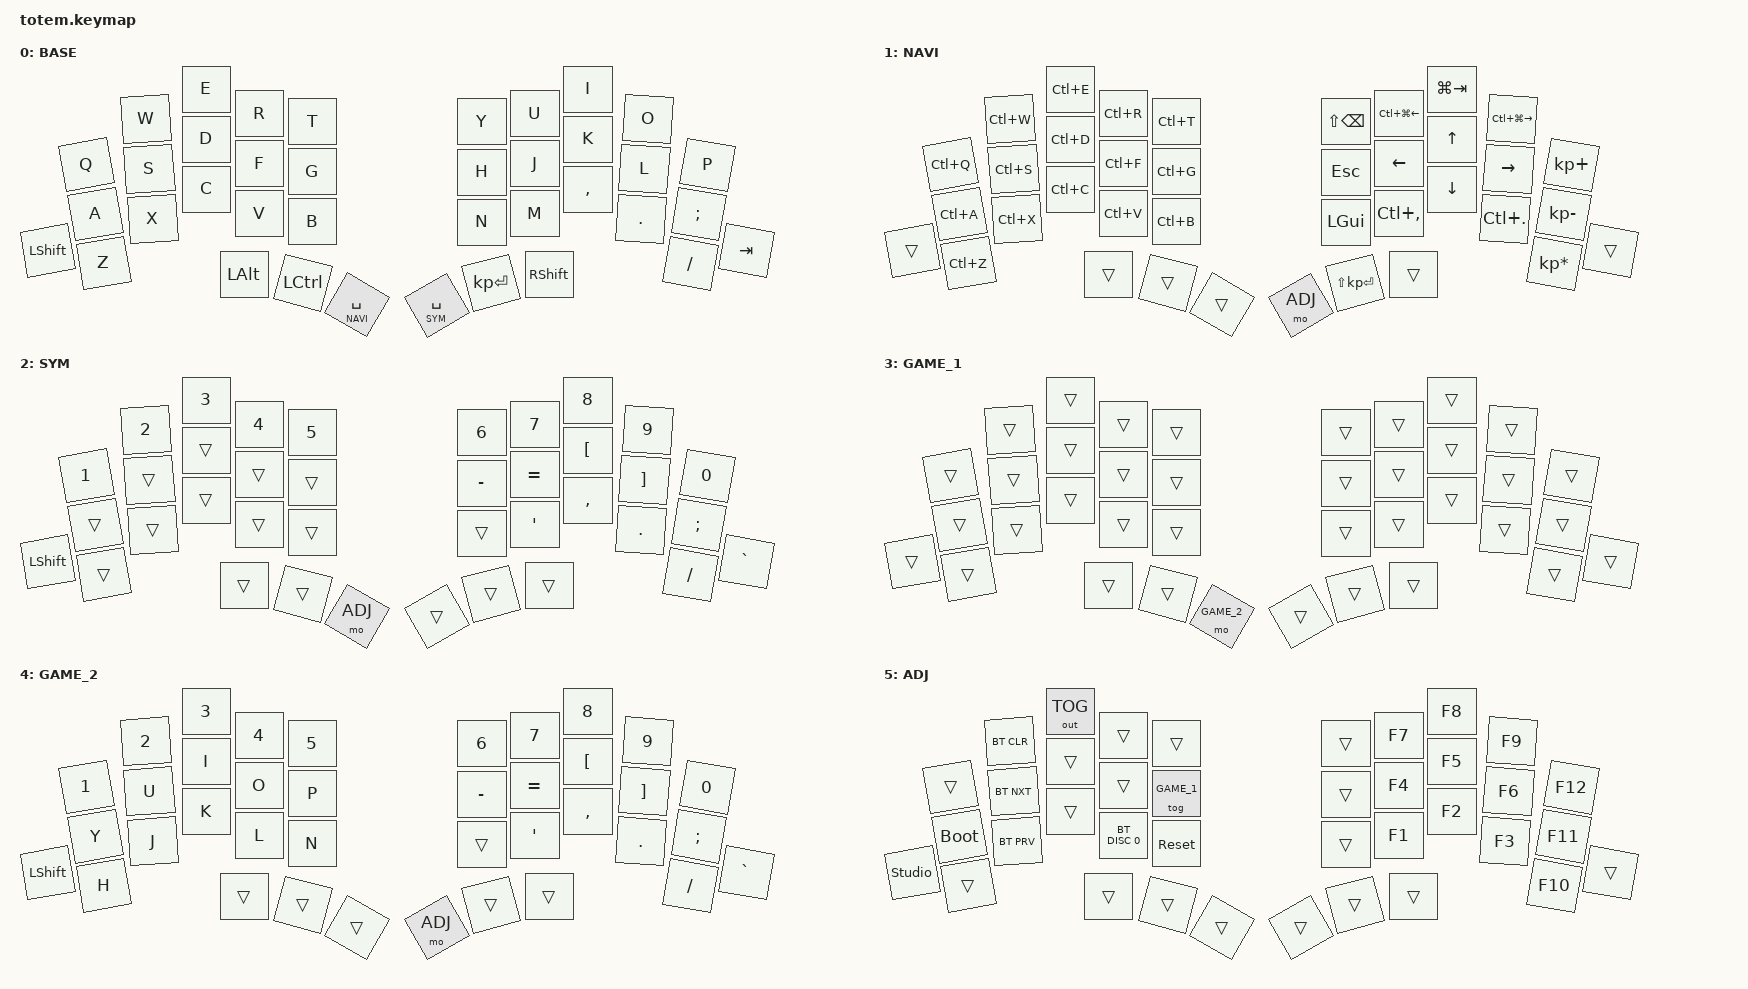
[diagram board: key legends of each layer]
/*
 * TOTEM keymap. Used by all three builds - ZMK resolves `totem_left`,
 * `totem_right` and `totem_dongle` back to the shield directory name `totem`,
 * so this one file is the keymap for the whole keyboard. Only the dongle
 * actually acts on it; the halves just report key positions.
 *
 * Reconstructed from a ZMK Studio backup taken 2026-09-10.
 * Source: zmk-keymap-backup-20260910-1018.json  (device "TOTEM")
 *
 * Layers: 0 BASE, 1 NAVI, 2 SYM, 3 GAME_1, 4 GAME_2, 5 ADJ. The first three
 * match the Studio layer IDs in the backup. ADJ was layer 3 in the backup; it
 * moved to the top so it outranks the game layers and its G toggle is always
 * reachable. ADJ is reached by holding both thumb keys - a plain &mo on each
 * side, not a conditional layer.
 *
 * The backup also held a custom `giphy` behavior on the SYM left inner thumb.
 * It was added by mistake and has been dropped; that position is &trans here.
 * The original binding is still preserved in the JSON backup.
 *
 * No combos. Hold-tap tuning (tapping-term-ms, flavor, quick-tap-ms) for &lt
 * was never recoverable from Studio, so ZMK defaults apply.
 */

#include <behaviors.dtsi>
#include <dt-bindings/zmk/keys.h>
#include <dt-bindings/zmk/bt.h>
#include <dt-bindings/zmk/outputs.h>
#include <dt-bindings/zmk/ext_power.h>

#define BASE    0
#define NAVI    1
#define SYM     2
#define GAME_1  3
#define GAME_2  4
#define ADJ     5

/ {
    keymap {
        compatible = "zmk,keymap";

        // QWERTY. Thumbs: LALT LCTRL LT(NAVI,SPACE) | LT(SYM,SPACE) KP_ENTER RSHFT
        base_layer {
            display-name = "BASE";
            bindings = <
                                  &kp Q             &kp W             &kp E             &kp R             &kp T             &kp Y             &kp U             &kp I             &kp O             &kp P
                                  &kp A             &kp S             &kp D             &kp F             &kp G             &kp H             &kp J             &kp K             &kp L             &kp SEMI
                &kp LSHFT         &kp Z             &kp X             &kp C             &kp V             &kp B             &kp N             &kp M             &kp COMMA         &kp DOT           &kp FSLH          &kp TAB
                                                                      &kp LALT          &kp LCTRL         &lt NAVI SPACE    &lt SYM SPACE     &kp KP_ENTER      &kp RSHFT
            >;
        };

        // Left hand = LCTRL+letter shortcuts. Right hand = arrows / Windows desktop switching.
        navi_layer {
            display-name = "NAVI";
            bindings = <
                                  &kp LC(Q)         &kp LC(W)         &kp LC(E)         &kp LC(R)         &kp LC(T)         &kp LS(BSPC)      &kp LC(LG(LEFT))  &kp LG(TAB)       &kp LC(LG(RIGHT)) &kp KP_PLUS
                                  &kp LC(A)         &kp LC(S)         &kp LC(D)         &kp LC(F)         &kp LC(G)         &kp ESC           &kp LEFT          &kp UP            &kp RIGHT         &kp KP_MINUS
                &trans            &kp LC(Z)         &kp LC(X)         &kp LC(C)         &kp LC(V)         &kp LC(B)         &kp LGUI          &kp LC(COMMA)     &kp DOWN          &kp LC(DOT)       &kp KP_MULTIPLY   &trans
                                                                      &trans            &trans            &trans            &mo ADJ           &kp LS(KP_ENTER)  &trans
            >;
        };

        // Numbers on the top row, punctuation on the right hand.
        sym_layer {
            display-name = "SYM";
            bindings = <
                                  &kp N1            &kp N2            &kp N3            &kp N4            &kp N5            &kp N6            &kp N7            &kp N8            &kp N9            &kp N0
                                  &trans            &trans            &trans            &trans            &trans            &kp MINUS         &kp EQUAL         &kp LBKT          &kp RBKT          &kp SEMI
                &kp LSHFT         &trans            &trans            &trans            &trans            &trans            &trans            &kp SQT           &kp COMMA         &kp DOT           &kp FSLH          &kp GRAVE
                                                                      &trans            &trans            &mo ADJ           &trans            &trans            &trans
            >;
        };

        // Toggled with both thumbs + G. BASE, except the left thumb SPACE is
        // a plain momentary GAME_2 (no SPACE on the left hand here).
        game_1_layer {
            display-name = "GAME_1";
            bindings = <
                                  &trans            &trans            &trans            &trans            &trans            &trans            &trans            &trans            &trans            &trans
                                  &trans            &trans            &trans            &trans            &trans            &trans            &trans            &trans            &trans            &trans
                &trans            &trans            &trans            &trans            &trans            &trans            &trans            &trans            &trans            &trans            &trans            &trans
                                                                      &trans            &trans            &mo GAME_2        &trans            &trans            &trans
            >;
        };

        // SYM, plus the right-hand letters on SYM's empty left keys so they are
        // reachable one-handed: Y U I O P on the home row, H J K L N below.
        // Right thumb opens ADJ, mirroring SYM's left thumb.
        game_2_layer {
            display-name = "GAME_2";
            bindings = <
                                  &kp N1            &kp N2            &kp N3            &kp N4            &kp N5            &kp N6            &kp N7            &kp N8            &kp N9            &kp N0
                                  &kp Y             &kp U             &kp I             &kp O             &kp P             &kp MINUS         &kp EQUAL         &kp LBKT          &kp RBKT          &kp SEMI
                &kp LSHFT         &kp H             &kp J             &kp K             &kp L             &kp N             &trans            &kp SQT           &kp COMMA         &kp DOT           &kp FSLH          &kp GRAVE
                                                                      &trans            &trans            &trans            &mo ADJ           &trans            &trans
            >;
        };

        // Reached by holding BOTH thumb keys. BT / output / bootloader / F-keys.
        // G toggles GAME_1 (it was BT_CLR_ALL in the backup).
        adj_layer {
            display-name = "ADJ";
            bindings = <
                                  &trans            &bt BT_CLR        &out OUT_TOG      &trans            &trans            &trans            &kp F7            &kp F8            &kp F9            &kp F12
                                  &bootloader       &bt BT_NXT        &trans            &trans            &tog GAME_1       &trans            &kp F4            &kp F5            &kp F6            &kp F11
                &studio_unlock    &trans            &bt BT_PRV        &trans            &bt BT_DISC 0     &sys_reset        &trans            &kp F1            &kp F2            &kp F3            &kp F10           &trans
                                                                      &trans            &trans            &trans            &trans            &trans            &trans
            >;
        };
    };
};
